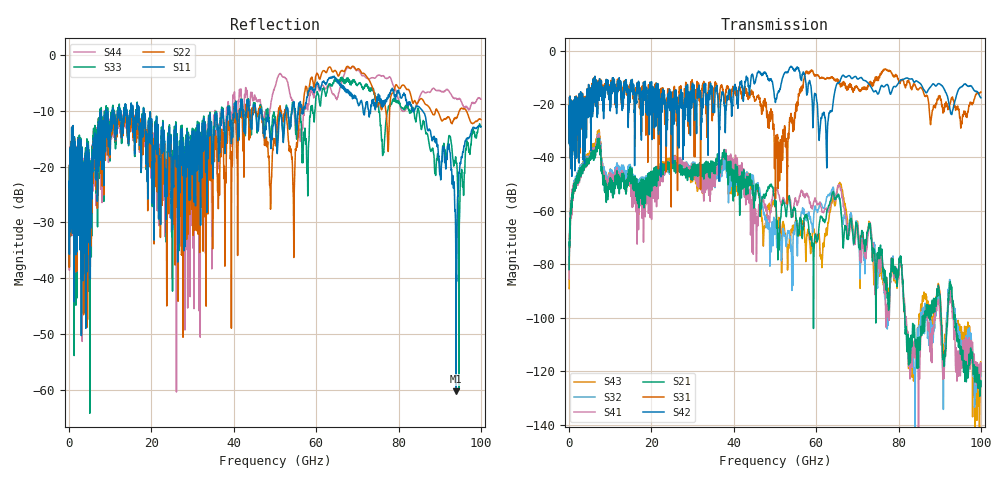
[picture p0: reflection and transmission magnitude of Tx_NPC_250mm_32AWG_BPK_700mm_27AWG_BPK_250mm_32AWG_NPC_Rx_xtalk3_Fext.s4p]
! Info: Touchstone file created by Circ.  Input file=Tx_NPC_250mm_32AWG_BPK_700mm_27AWG_BPK_250mm_32AWG_NPC_Rx.circ
# Hz S RI R 50
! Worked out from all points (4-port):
!   10000 points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, 10 MHz to 100 GHz, reference 50 ohm
!   strongest paths, dB at 10 MHz, 25.01 GHz, 50.01 GHz, 75.01 GHz, 100 GHz:
!     S42: -28.4, -18.5, -18.4, -16.3, -17.6
!     S31: -28.4, -24.1, -36.6, -10.4, -15.5
!     S21: -81.9, -42.2, -58.1, -76.9, -125.8
!     S41: -85.5, -40.7, -52.1, -80.4, -120.0
!     S32: -80.9, -42.3, -65.0, -85.0, -122.0
!     S43: -89.1, -40.4, -58.5, -83.0, -121.5
!   lowest |S11| = -60.2 dB at 93.97 GHz (marker M1), VSWR 1.00, Z = 49.9 + j0.0102 ohm
!   |S11| at or under -10 dB: start of sweep to 8.923 GHz; 18.17 GHz to 37.04 GHz (18.86 GHz wide, 68.3 % of centre); 85.77 GHz to end of sweep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
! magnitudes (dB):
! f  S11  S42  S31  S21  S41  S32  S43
! 10 MHz  -23.7  -28.4  -28.4  -81.9  -85.5  -80.9  -89.1
! 6.98 GHz  -19.9  -13.5  -12.9  -34.3  -33.2  -33.2  -31.9
! 16.57 GHz  -9.3  -12.5  -12.5  -56.3  -61.6  -54.7  -60.0
! 51.14 GHz  -11.1  -14.6  -43.1  -66.5  -55.5  -70.3  -63.4
! 64.22 GHz  -4.1  -18.2  -10.2  -52.9  -53.7  -51.6  -55.0
! 93.97 GHz  -60.2  -17.1  -21.6  -102.7  -113.1  -101.0  -101.7
! 100 GHz  -12.9  -17.6  -15.5  -125.8  -120.0  -122.0  -121.5
